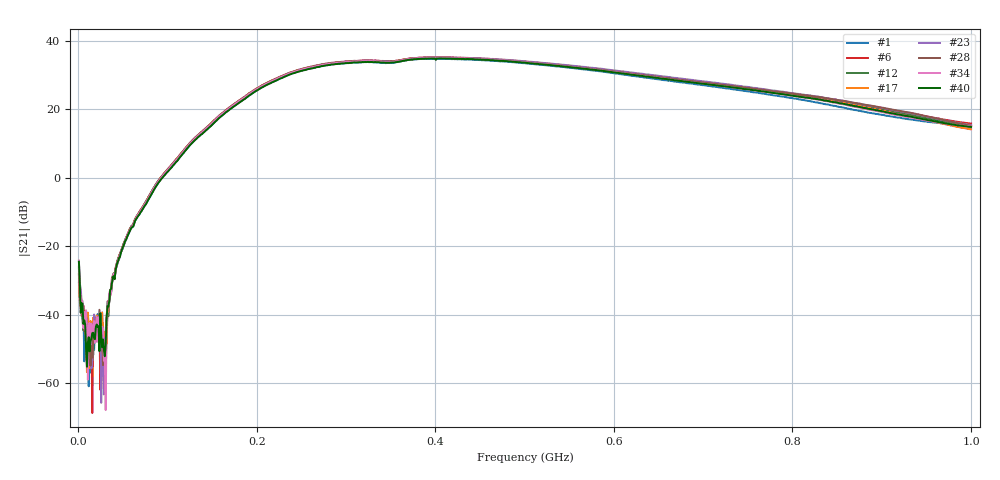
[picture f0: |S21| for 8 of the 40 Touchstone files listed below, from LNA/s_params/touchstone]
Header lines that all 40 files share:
! Created with skrf 1.9.0 (http://scikit-rf.org).
# Hz S RI R 50.0
!freq ReS11 ImS11 ReS21 ImS21 ReS12 ImS12 ReS22 ImS22
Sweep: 1 MHz to 1 GHz
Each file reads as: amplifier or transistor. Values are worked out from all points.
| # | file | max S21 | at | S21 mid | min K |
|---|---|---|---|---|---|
| 1 | LNA00001P2.s2p | 34.7 dB | 394.6 MHz | 33.4 dB at 500.5 MHz | -123.51 |
| 2 | LNA00203P1.s2p | 34.6 dB | 410.6 MHz | 33.5 dB at 500.5 MHz | 0.29 |
| 3 | LNA00203P2.s2p | 35.0 dB | 405.6 MHz | 33.9 dB at 500.5 MHz | 0.38 |
| 4 | LNA00204P1.s2p | 35.1 dB | 394.6 MHz | 33.7 dB at 500.5 MHz | 0.15 |
| 5 | LNA00204P2.s2p | 34.8 dB | 394.6 MHz | 33.6 dB at 500.5 MHz | -0.47 |
| 6 | LNA00205P1.s2p | 35.1 dB | 394.6 MHz | 33.9 dB at 500.5 MHz | 0.29 |
| 7 | LNA00205P2.s2p | 34.8 dB | 410.6 MHz | 33.6 dB at 500.5 MHz | -0.38 |
| 8 | LNA00206P1.s2p | 34.8 dB | 394.6 MHz | 33.5 dB at 500.5 MHz | -5.48 |
| 9 | LNA00206P2.s2p | 34.9 dB | 394.6 MHz | 33.5 dB at 500.5 MHz | 0.11 |
| 10 | LNA00207P1.s2p | 35.1 dB | 410.6 MHz | 33.9 dB at 500.5 MHz | 0.24 |
| 11 | LNA00207P2.s2p | 35.2 dB | 394.6 MHz | 33.9 dB at 500.5 MHz | 0.24 |
| 12 | LNA00208P1.s2p | 34.9 dB | 403.6 MHz | 33.7 dB at 500.5 MHz | -11.65 |
| 13 | LNA00208P2.s2p | 35.0 dB | 410.6 MHz | 33.2 dB at 500.5 MHz | 0.27 |
| 14 | LNA00209P1.s2p | 35.1 dB | 394.6 MHz | 33.8 dB at 500.5 MHz | 0.20 |
| 15 | LNA00209P2.s2p | 34.8 dB | 405.6 MHz | 33.6 dB at 500.5 MHz | -0.69 |
| 16 | LNA00210P1.s2p | 34.9 dB | 394.6 MHz | 33.6 dB at 500.5 MHz | -13.27 |
| 17 | LNA00210P2.s2p | 35.0 dB | 394.6 MHz | 33.8 dB at 500.5 MHz | 0.21 |
| 18 | LNA00211P1.s2p | 35.0 dB | 404.6 MHz | 33.8 dB at 500.5 MHz | -0.05 |
| 19 | LNA00211P2.s2p | 34.7 dB | 394.6 MHz | 33.5 dB at 500.5 MHz | -8.90 |
| 20 | LNA00212P1.s2p | 35.1 dB | 404.6 MHz | 33.8 dB at 500.5 MHz | 0.13 |
| 21 | LNA00212P2.s2p | 35.1 dB | 416.6 MHz | 33.5 dB at 500.5 MHz | 0.21 |
| 22 | LNA00213P1.s2p | 35.0 dB | 394.6 MHz | 33.6 dB at 500.5 MHz | 0.29 |
| 23 | LNA00213P2.s2p | 35.1 dB | 406.6 MHz | 34.0 dB at 500.5 MHz | -57.43 |
| 24 | LNA00214P1.s2p | 35.1 dB | 405.6 MHz | 34.4 dB at 477.5 MHz | 0.26 |
| 25 | LNA00214P2.s2p | 35.0 dB | 404.6 MHz | 33.8 dB at 500.5 MHz | -0.22 |
| 26 | LNA00215P1.s2p | 35.1 dB | 404.6 MHz | 33.9 dB at 500.5 MHz | 0.06 |
| 27 | LNA00215P2.s2p | 35.1 dB | 405.6 MHz | 33.9 dB at 500.5 MHz | 0.34 |
| 28 | LNA00216P1.s2p | 35.1 dB | 394.6 MHz | 33.8 dB at 500.5 MHz | 0.04 |
| 29 | LNA00216P2.s2p | 35.1 dB | 394.6 MHz | 33.8 dB at 500.5 MHz | 0.22 |
| 30 | LNA00217P1.s2p | 35.0 dB | 404.6 MHz | 33.8 dB at 500.5 MHz | 0.38 |
| 31 | LNA00217P2.s2p | 35.1 dB | 404.6 MHz | 33.8 dB at 500.5 MHz | 0.26 |
| 32 | LNA00218P1.s2p | 35.2 dB | 406.6 MHz | 33.9 dB at 500.5 MHz | -0.28 |
| 33 | LNA00218P2.s2p | 35.0 dB | 394.6 MHz | 33.8 dB at 500.5 MHz | -0.16 |
| 34 | LNA00219P1.s2p | 35.0 dB | 404.6 MHz | 33.7 dB at 500.5 MHz | -4.67 |
| 35 | LNA00219P2.s2p | 35.1 dB | 404.6 MHz | 33.9 dB at 500.5 MHz | 0.40 |
| 36 | LNA00220P1.s2p | 35.3 dB | 394.6 MHz | 34.0 dB at 500.5 MHz | 0.28 |
| 37 | LNA00220P2.s2p | 34.6 dB | 410.6 MHz | 33.5 dB at 500.5 MHz | 0.19 |
| 38 | LNA00221P1.s2p | 34.9 dB | 394.6 MHz | 33.8 dB at 500.5 MHz | 0.11 |
| 39 | LNA00221P2.s2p | 35.0 dB | 394.6 MHz | 33.7 dB at 500.5 MHz | 0.04 |
| 40 | LNA00222P1.s2p | 34.8 dB | 394.6 MHz | 33.5 dB at 500.5 MHz | -13.03 |
